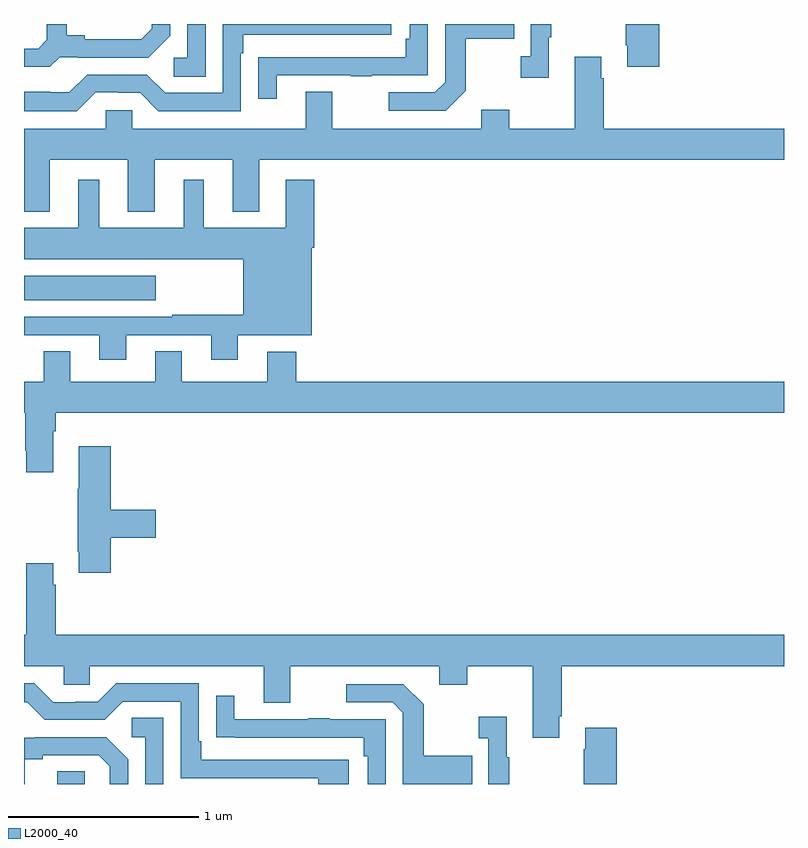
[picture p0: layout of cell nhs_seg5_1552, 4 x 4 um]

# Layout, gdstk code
import gdstk
lib = gdstk.Library(unit=1e-6, precision=1e-09)
def R(c, l, rs):  # rectangles x0, y0, x1, y1
    for r in rs: c.add(gdstk.rectangle(r[:2], r[2:], *l))
def P(c, l, *ps):  # polygons
    for p in ps: c.add(gdstk.Polygon(p, *l))
L2000_40 = (2000, 40)

nhs_seg5_1552 = lib.new_cell('nhs_seg5_1552')
R(nhs_seg5_1552, L2000_40, [(205.175,862.799,205.32,862.865), (205,865.346,205.693,865.474)])
P(nhs_seg5_1552, L2000_40, [(206.329,866.529),(206.719,866.529),(206.719,866.524),(206.831,866.524),(206.831,866.529),(207.126,866.529),(207.126,866.799),(207.03,866.799),(207.03,866.722),(207.01,866.722),(207.01,866.625),(206.335,866.625),(206.335,866.624),(206.233,866.624),(206.233,866.406),(206.329,866.406)],
  [(205.188,866.625),(205.282,866.625),(205.282,866.622),(205.654,866.622),(205.77,866.738),(205.77,866.799),(205.673,866.799),(205.673,866.775),(205.616,866.718),(205.321,866.718),(205.321,866.741),(205.225,866.741),(205.225,866.799),(205.121,866.799),(205.121,866.717),(205.074,866.67),(205,866.67),(205,866.573),(205.136,866.573)],
  [(207.763,866.729),(207.775,866.729),(207.775,866.799),(207.666,866.799),(207.666,866.63),(207.615,866.63),(207.615,866.517),(207.763,866.517)],
  [(208.343,866.799),(208.168,866.799),(208.168,866.686),(208.175,866.686),(208.175,866.574),(208.343,866.574)],
  [(205.956,866.799),(205.86,866.799),(205.86,866.622),(205.788,866.622),(205.788,866.521),(205.956,866.521)],
  [(207.325,866.449),(207.325,866.722),(207.581,866.722),(207.581,866.799),(207.216,866.799),(207.216,866.493),(207.162,866.439),(206.919,866.439),(206.919,866.343),(207.219,866.343)],
  [(205.377,866.439),(205.493,866.439),(205.493,866.436),(205.611,866.436),(205.707,866.34),(206.142,866.34),(206.142,866.645),(206.155,866.645),(206.155,866.742),(206.932,866.742),(206.932,866.799),(206.046,866.799),(206.046,866.436),(205.743,866.436),(205.647,866.532),(205.332,866.532),(205.239,866.439),(205.139,866.439),(205.139,866.443),(205,866.443),(205,866.339),(205.277,866.339)],
  [(205.135,866.084),(205.547,866.084),(205.547,865.811),(205.687,865.811),(205.687,866.084),(206.099,866.084),(206.099,865.811),(206.239,865.811),(206.239,866.084),(209,866.084),(209,866.248),(208.052,866.248),(208.052,866.513),(208.039,866.513),(208.039,866.626),(207.899,866.626),(207.899,866.248),(207.555,866.248),(207.555,866.347),(207.407,866.347),(207.407,866.248),(206.623,866.248),(206.623,866.443),(206.483,866.443),(206.483,866.248),(205.569,866.248),(205.569,866.346),(205.431,866.346),(205.431,866.248),(205,866.248),(205,865.811),(205.135,865.811)],
  [(205.537,865.161),(205.985,865.161),(205.985,865.032),(206.125,865.032),(206.125,865.16),(206.515,865.16),(206.515,865.622),(206.528,865.622),(206.528,865.978),(206.378,865.978),(206.378,865.726),(205.945,865.726),(205.945,865.978),(205.841,865.978),(205.841,865.726),(205.396,865.726),(205.396,865.978),(205.286,865.978),(205.286,865.726),(205,865.726),(205,865.562),(206.153,865.562),(206.153,865.27),(205.78,865.27),(205.78,865.257),(205,865.257),(205,865.161),(205.397,865.161),(205.397,865.032),(205.537,865.032)],
  [(209,864.916),(206.432,864.916),(206.432,865.075),(206.279,865.075),(206.279,864.916),(205.831,864.916),(205.831,865.076),(205.691,865.076),(205.691,864.916),(205.243,864.916),(205.243,865.076),(205.103,865.076),(205.103,864.916),(205,864.916),(205,864.752),(205.006,864.752),(205.006,864.553),(205.013,864.553),(205.013,864.441),(205.153,864.441),(205.153,864.656),(205.166,864.656),(205.166,864.752),(209,864.752)],
  [(205.457,864.095),(205.693,864.095),(205.693,864.242),(205.457,864.242),(205.457,864.577),(205.289,864.577),(205.289,864.353),(205.282,864.353),(205.282,864.022),(205.289,864.022),(205.289,863.91),(205.457,863.91)],
  [(207.817,863.155),(207.83,863.155),(207.83,863.42),(209,863.42),(209,863.584),(205.166,863.584),(205.166,863.849),(205.153,863.849),(205.153,863.962),(205.013,863.962),(205.013,863.584),(205,863.584),(205,863.42),(205.209,863.42),(205.209,863.322),(205.347,863.322),(205.347,863.42),(206.261,863.42),(206.261,863.226),(206.401,863.226),(206.401,863.42),(207.185,863.42),(207.185,863.321),(207.333,863.321),(207.333,863.42),(207.677,863.42),(207.677,863.043),(207.817,863.043)],
  [(206.71,862.926),(205.933,862.926),(205.933,863.023),(205.92,863.023),(205.92,863.328),(205.485,863.328),(205.389,863.232),(205.271,863.232),(205.271,863.229),(205.155,863.229),(205.055,863.329),(205,863.329),(205,863.229),(205.017,863.229),(205.11,863.136),(205.425,863.136),(205.521,863.232),(205.824,863.232),(205.824,862.83),(206.549,862.83),(206.549,862.799),(206.71,862.799)],
  [(207.359,862.947),(207.103,862.947),(207.103,863.219),(206.997,863.325),(206.697,863.325),(206.697,863.229),(206.94,863.229),(206.994,863.175),(206.994,862.799),(207.359,862.799)],
  [(206.904,863.139),(206.609,863.139),(206.609,863.144),(206.497,863.144),(206.497,863.139),(206.107,863.139),(206.107,863.263),(206.011,863.263),(206.011,863.044),(206.113,863.044),(206.113,863.043),(206.788,863.043),(206.788,862.946),(206.808,862.946),(206.808,862.799),(206.904,862.799)],
  [(207.553,862.939),(207.541,862.939),(207.541,863.152),(207.393,863.152),(207.393,863.039),(207.444,863.039),(207.444,862.799),(207.553,862.799)],
  [(205.734,863.147),(205.566,863.147),(205.566,863.046),(205.638,863.046),(205.638,862.799),(205.734,862.799)],
  [(208.121,863.095),(207.953,863.095),(207.953,862.982),(207.946,862.982),(207.946,862.799),(208.121,862.799)],
  [(205.003,862.928),(205.099,862.928),(205.099,862.95),(205.394,862.95),(205.451,862.893),(205.451,862.799),(205.548,862.799),(205.548,862.93),(205.432,863.046),(205.06,863.046),(205.06,863.043),(205,863.043),(205,862.799),(205.003,862.799)])

lib.write_gds('nhs_seg5_1552.gds')
